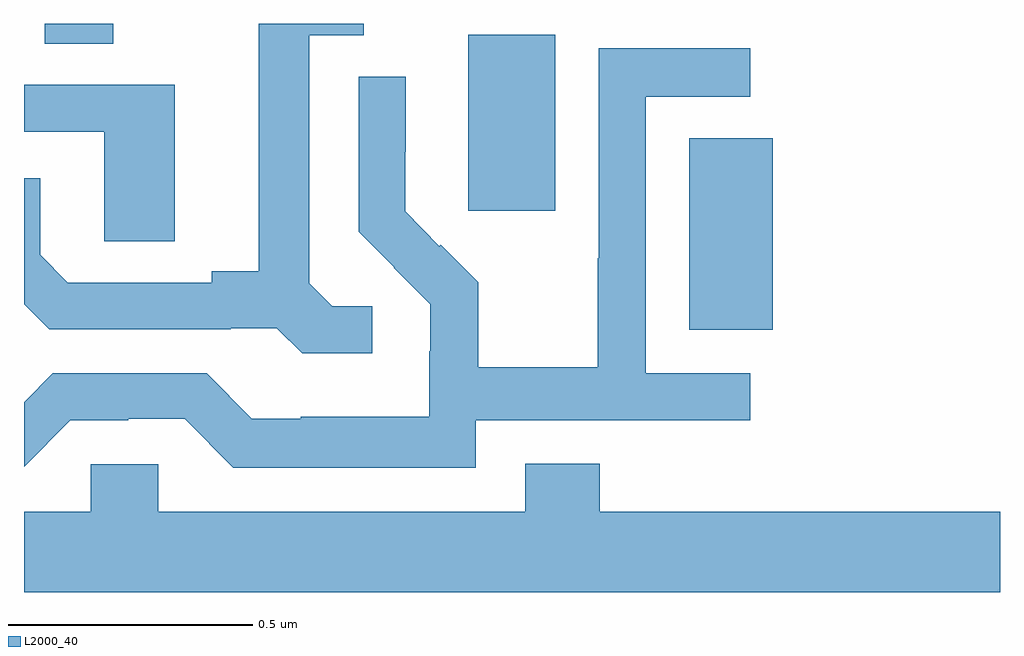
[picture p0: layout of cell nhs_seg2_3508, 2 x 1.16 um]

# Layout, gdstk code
import gdstk
lib = gdstk.Library(unit=1e-6, precision=1e-09)
def R(c, l, rs):  # rectangles x0, y0, x1, y1
    for r in rs: c.add(gdstk.rectangle(r[:2], r[2:], *l))
def P(c, l, *ps):  # polygons
    for p in ps: c.add(gdstk.Polygon(p, *l))
L2000_40 = (2000, 40)

nhs_seg2_3508 = lib.new_cell('nhs_seg2_3508')
R(nhs_seg2_3508, L2000_40, [(155.363,648.173,155.534,648.566), (154.91,648.417,155.089,648.778), (154.043,648.76,154.183,648.8)])
P(nhs_seg2_3508, L2000_40, [(154.714,648.222),(154.632,648.222),(154.585,648.269),(154.585,648.777),(154.696,648.777),(154.696,648.8),(154.481,648.8),(154.481,648.293),(154.385,648.293),(154.385,648.27),(154.09,648.27),(154.033,648.327),(154.033,648.484),(154,648.484),(154,648.226),(154.052,648.174),(154.424,648.174),(154.424,648.177),(154.518,648.177),(154.57,648.125),(154.714,648.125)],
  [(154.926,647.988),(155.488,647.988),(155.488,648.084),(155.274,648.084),(155.274,648.651),(155.488,648.651),(155.488,648.75),(155.178,648.75),(155.178,648.32),(155.176,648.32),(155.176,648.097),(154.931,648.097),(154.931,648.271),(154.854,648.348),(154.851,648.345),(154.781,648.416),(154.781,648.538),(154.782,648.538),(154.782,648.692),(154.686,648.692),(154.686,648.374),(154.759,648.301),(154.758,648.3),(154.832,648.226),(154.832,648.129),(154.83,648.129),(154.83,647.995),(154.567,647.995),(154.567,647.991),(154.467,647.991),(154.374,648.084),(154.059,648.084),(154,648.025),(154,647.893),(154.095,647.988),(154.214,647.988),(154.214,647.991),(154.329,647.991),(154.429,647.891),(154.926,647.891)],
  [(154.309,648.675),(154,648.675),(154,648.579),(154.164,648.579),(154.164,648.355),(154.309,648.355)],
  [(156,647.8),(155.18,647.8),(155.18,647.899),(155.027,647.899),(155.027,647.8),(154.275,647.8),(154.275,647.898),(154.137,647.898),(154.137,647.8),(154,647.8),(154,647.636),(156,647.636)])

lib.write_gds('nhs_seg2_3508.gds')
